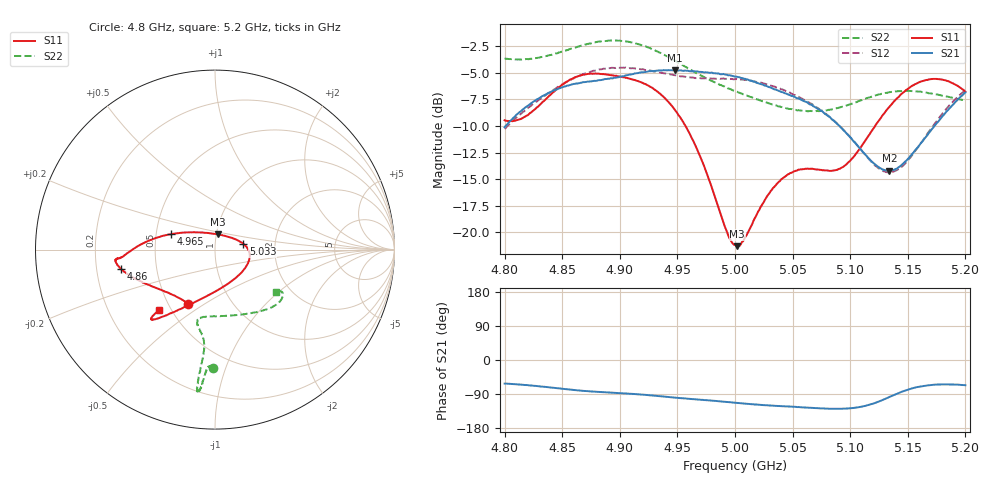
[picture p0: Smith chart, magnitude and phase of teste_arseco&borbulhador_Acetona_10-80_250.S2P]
! Network Analyzer HP8722D
! Hewlett-Packard
! Data name: Linha & Wilkinson
! Saver's name: Rodrigo Anjos
! Comments: Teste da utilização de aquisição
! continua pelo VNA HP8722D
! Time and date: 17/4/2025 16:26
!  Frequency  S11  S21  S12  S22
# HZ  S  MA R 50
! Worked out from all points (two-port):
!   401 points, 4.8 GHz to 5.2 GHz, reference 50 ohm
!   highest |S21| = -4.74 dB at 4.948 GHz (marker M1); lowest = -14.2 dB at 5.134 GHz (marker M2)
!   |S21| within 3 dB of the highest: 4.825 GHz to 5.062 GHz (237.4 MHz wide, 4.8 % of centre); 5.191309 GHz to end of sweep
!   lowest |S11| = -21.3 dB at 5.002 GHz (marker M3), VSWR 1.19, Z = 51 + j8.65 ohm
!   |S11| at or under -10 dB: 4.957 GHz to 5.122 GHz (164.5 MHz wide, 3.27 % of centre)
!   |S22| runs from -8.6 to -1.9 dB; largest |S21 - S12| = 0.87
!   S11 on the Smith chart (normalised r, x): 4.8 GHz: 0.63, -0.43; 4.86 GHz: 0.31, -0.09; 4.965 GHz: 0.60, +0.11; 5.033 GHz: 1.37, +0.09; 5.2 GHz: 0.43, -0.37
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4.8e9  0.3363 -116.5  0.3121 -62.2  0.3066 -176.3  0.6579 -91.2
4.819e9  0.3533 -136.7  0.39 -66.2  0.379 -175.9  0.6538 -92.9
4.86e9  0.5333 -168.1  0.4991 -79.1  0.5297 -179.1  0.7373 -95.2
4.867e9  0.549 -170.8  0.506 -81.2  0.5503 179.5  0.7575 -95.4
4.899e9  0.5418 -174.8  0.5367 -87.2  0.5942 173.4  0.7972 -96.9
4.934e9  0.4532 179.4  0.5771 -95.4  0.567 170.2  0.7032 -97.2
4.948e9  0.3758 172.7  0.5795 -99.3  0.5488 170.6  0.6413 -96.7
4.965e9  0.26 160.8  0.5726 -103.7  0.5324 172.2  0.5678 -96.2
4.993e9  0.1004 113.0  0.5516 -110.8  0.5277 174.5  0.4796 -98.7
5e9  0.08694 86.9  0.5405 -112.9  0.5261 174.4  0.4617 -100.2
5.002e9  0.0859 78.7  0.5389 -113.4  0.5241 174.5  0.4583 -100.5
5.009e9  0.0951 53.8  0.527 -115.3  0.5208 174.2  0.4424 -102.0
5.033e9  0.1613 11.7  0.4743 -120.5  0.4864 173.1  0.3993 -103.3
5.049e9  0.1901 -3.6  0.4378 -123.2  0.449 172.7  0.3802 -98.9
5.067e9  0.199 -22.9  0.3959 -126.3  0.4009 172.3  0.3719 -88.6
5.095e9  0.2053 -71.4  0.2994 -128.4  0.2998 174.5  0.3922 -66.9
5.121e9  0.3122 -111.0  0.2098 -114.0  0.2075 -169.0  0.4392 -49.5
5.134e9  0.3891 -120.9  0.1948 -97.7  0.1907 -150.7  0.4563 -43.2
5.146e9  0.4549 -126.4  0.2103 -82.5  0.2059 -133.0  0.4633 -38.8
5.168e9  0.5235 -131.8  0.2917 -66.8  0.2957 -113.2  0.4511 -33.3
5.184e9  0.5158 -133.0  0.3721 -64.2  0.3839 -108.7  0.4353 -32.2
5.2e9  0.4589 -133.0  0.4549 -66.6  0.4663 -108.6  0.4167 -34.8
